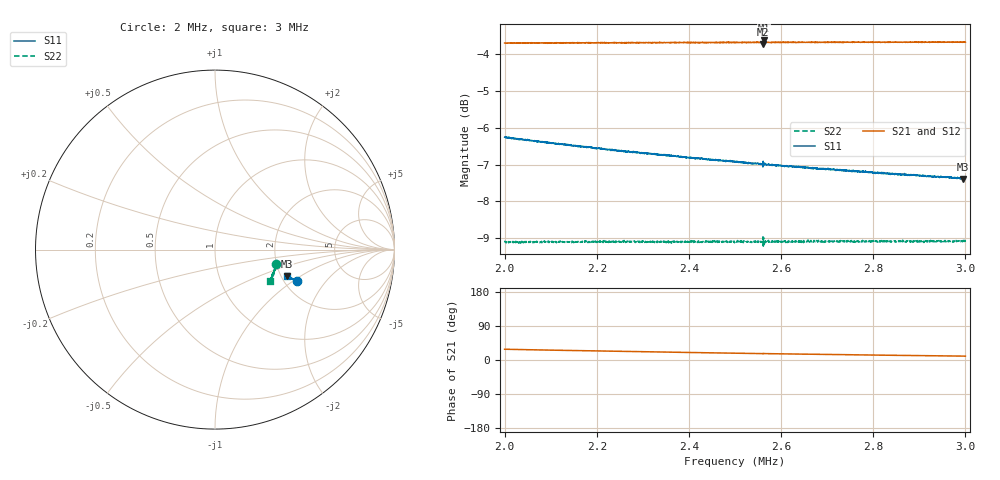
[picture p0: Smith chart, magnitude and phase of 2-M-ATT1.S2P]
!Keysight Technologies,E5063A,MY54504603,A.05.08
!Date: Wed Nov 25 12:25:10 2026
!Data & Calibration Information:
!Freq	S11:NONE(--)	S21:NONE(--)	S12:NONE(--)	S22:NONE(--)
# Hz S dB R 50
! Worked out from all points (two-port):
!   2001 points, 2 MHz to 3 MHz, reference 50 ohm
!   highest |S21| = -3.63 dB at 2.562 MHz (marker M1); lowest = -3.7 dB at 2.562 MHz (marker M2)
!   |S21| within 3 dB of the highest: start of sweep to end of sweep
!   lowest |S11| = -7.4 dB at 2.995 MHz (marker M3), VSWR 2.49, Z = 108 - j38.6 ohm
!   |S11| at or under -10 dB: nowhere
!   |S22| runs from -9.2 to -9.0 dB; largest |S21 - S12| = 0.0079
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2000000  -6.26 -20.8  -3.70 28.4  -3.72 28.5  -9.11 -13.5
2006500  -6.27 -20.6  -3.70 28.2  -3.73 28.3  -9.12 -13.6
2056000  -6.34 -20.7  -3.71 27.0  -3.72 27.2  -9.09 -14.5
2115000  -6.43 -20.7  -3.70 25.7  -3.72 25.8  -9.10 -15.7
2167000  -6.50 -20.8  -3.70 24.5  -3.72 24.6  -9.10 -16.6
2179000  -6.53 -20.8  -3.70 24.3  -3.72 24.4  -9.09 -16.6
2237500  -6.61 -20.7  -3.70 23.0  -3.71 23.1  -9.11 -17.8
2333500  -6.73 -20.7  -3.69 21.0  -3.70 21.2  -9.08 -19.3
2376500  -6.77 -20.8  -3.69 20.2  -3.70 20.4  -9.11 -20.2
2396500  -6.81 -20.7  -3.69 19.9  -3.71 20.0  -9.10 -20.5
2407500  -6.81 -20.7  -3.69 19.6  -3.70 19.8  -9.08 -20.5
2430000  -6.84 -20.7  -3.68 19.3  -3.70 19.4  -9.10 -21.0
2444500  -6.86 -20.7  -3.68 19.0  -3.71 19.1  -9.09 -21.3
2500000  -6.91 -20.6  -3.68 18.0  -3.70 18.1  -9.09 -22.3
2561500  -6.96 -20.2  -3.73 16.7  -3.70 16.8  -9.21 -23.7
2562000  -7.01 -20.6  -3.63 16.6  -3.68 16.9  -8.98 -23.8
2573000  -6.99 -20.6  -3.68 16.7  -3.69 16.8  -9.10 -23.3
2667000  -7.08 -20.5  -3.68 15.1  -3.69 15.3  -9.08 -24.9
2742000  -7.15 -20.4  -3.68 13.9  -3.69 14.1  -9.07 -25.9
2833500  -7.26 -20.4  -3.68 12.6  -3.68 12.7  -9.07 -27.5
2995500  -7.39 -20.1  -3.68 10.2  -3.69 10.3  -9.05 -29.7
3000000  -7.38 -20.1  -3.68 10.2  -3.68 10.3  -9.08 -29.8
